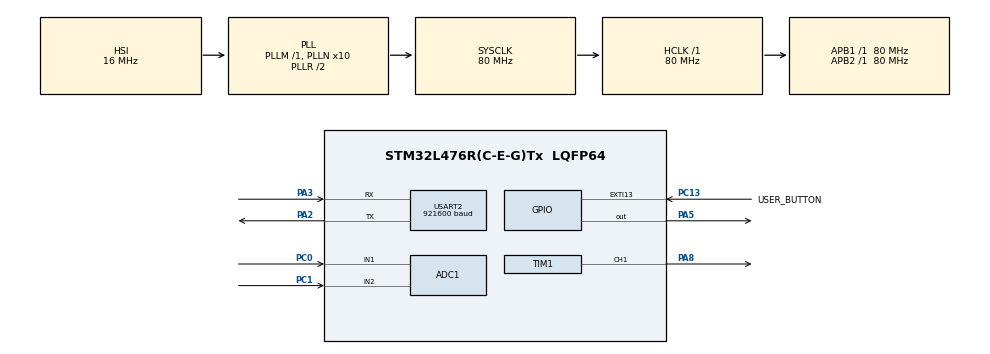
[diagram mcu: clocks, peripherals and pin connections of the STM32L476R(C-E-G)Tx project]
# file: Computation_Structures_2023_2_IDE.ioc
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ADC1.Channel-0\#ChannelRegularConversion=ADC_CHANNEL_1
ADC1.Channel-1\#ChannelRegularConversion=ADC_CHANNEL_2
ADC1.ContinuousConvMode=ENABLE
ADC1.EOCSelection=ADC_EOC_SEQ_CONV
ADC1.NbrOfConversion=2
ADC1.NbrOfConversionFlag=1
ADC1.OffsetNumber-0\#ChannelRegularConversion=ADC_OFFSET_NONE
ADC1.OffsetNumber-1\#ChannelRegularConversion=ADC_OFFSET_NONE
ADC1.Rank-0\#ChannelRegularConversion=1
ADC1.Rank-1\#ChannelRegularConversion=2
ADC1.SamplingTime-0\#ChannelRegularConversion=ADC_SAMPLETIME_2CYCLES_5
ADC1.SamplingTime-1\#ChannelRegularConversion=ADC_SAMPLETIME_2CYCLES_5
ADC1.master=1
Dma.ADC1.1.Direction=DMA_PERIPH_TO_MEMORY
Dma.ADC1.1.Instance=DMA1_Channel1
Dma.ADC1.1.MemDataAlignment=DMA_MDATAALIGN_HALFWORD
Dma.ADC1.1.MemInc=DMA_MINC_ENABLE
Dma.ADC1.1.Mode=DMA_NORMAL
Dma.ADC1.1.PeriphDataAlignment=DMA_PDATAALIGN_HALFWORD
Dma.ADC1.1.PeriphInc=DMA_PINC_DISABLE
Dma.ADC1.1.Priority=DMA_PRIORITY_HIGH
Dma.Request0=USART2_TX
Dma.Request1=ADC1
Dma.USART2_TX.0.Direction=DMA_MEMORY_TO_PERIPH
Dma.USART2_TX.0.Instance=DMA1_Channel7
Dma.USART2_TX.0.MemDataAlignment=DMA_MDATAALIGN_BYTE
Dma.USART2_TX.0.MemInc=DMA_MINC_ENABLE
Dma.USART2_TX.0.Mode=DMA_NORMAL
Dma.USART2_TX.0.PeriphDataAlignment=DMA_PDATAALIGN_BYTE
Dma.USART2_TX.0.PeriphInc=DMA_PINC_DISABLE
Dma.USART2_TX.0.Priority=DMA_PRIORITY_MEDIUM
Mcu.Family=STM32L4
Mcu.Name=STM32L476R(C-E-G)Tx
Mcu.Package=LQFP64
NVIC.DMA1_Channel1_IRQn=true\:0\:0\:false\:false\:true\:false\:true\:true
NVIC.DMA1_Channel7_IRQn=true\:0\:0\:false\:false\:true\:false\:true\:true
NVIC.EXTI15_10_IRQn=true\:0\:0\:false\:false\:true\:true\:true\:true
NVIC.PriorityGroup=NVIC_PRIORITYGROUP_4
NVIC.RTC_Alarm_IRQn=true\:0\:0\:false\:false\:true\:true\:true\:true
NVIC.TIM7_IRQn=true\:0\:0\:false\:false\:true\:true\:true\:true
NVIC.USART2_IRQn=true\:0\:0\:false\:false\:true\:true\:true\:true
PA2.Mode=Asynchronous
PA2.Signal=USART2_TX
PA3.Mode=Asynchronous
PA3.Signal=USART2_RX
PA5.Signal=GPIO_Output
PA8.Signal=S_TIM1_CH1
PC0.Signal=ADCx_IN1
PC1.Signal=ADCx_IN2
PC13.GPIO_Label=USER_BUTTON
PC13.Signal=GPXTI13
PH0-OSC_IN\ (PH0).Mode=HSE-External-Oscillator
PH0-OSC_IN\ (PH0).Signal=RCC_OSC_IN
PH1-OSC_OUT\ (PH1).Mode=HSE-External-Oscillator
PH1-OSC_OUT\ (PH1).Signal=RCC_OSC_OUT
ProjectManager.HeapSize=0x200
ProjectManager.StackSize=0x400
ProjectManager.TargetToolchain=STM32CubeIDE
RCC.ADCFreq_Value=64000000
RCC.AHBFreq_Value=80000000
RCC.APB1Freq_Value=80000000
RCC.APB1TimFreq_Value=80000000
RCC.APB2Freq_Value=80000000
RCC.APB2TimFreq_Value=80000000
RCC.CortexFreq_Value=80000000
RCC.HCLKFreq_Value=80000000
RCC.HSE_VALUE=48000000
RCC.HSI_VALUE=16000000
RCC.LSE_VALUE=32768
RCC.MSI_VALUE=4000000
RCC.PLLN=10
RCC.PLLSourceVirtual=RCC_PLLSOURCE_HSI
RCC.PREFETCH_ENABLE=1
RCC.SYSCLKFreq_VALUE=80000000
RCC.SYSCLKSource=RCC_SYSCLKSOURCE_PLLCLK
RCC.USBFreq_Value=64000000
RCC.VCOOutputFreq_Value=160000000
RTC.Alarm-Alarm\ A=RTC_ALARM_A
SH.ADCx_IN1.0=ADC1_IN1,IN1-Single-Ended
SH.ADCx_IN2.0=ADC1_IN2,IN2-Single-Ended
SH.S_TIM1_CH1.0=TIM1_CH1,PWM Generation1 CH1
TIM1.Channel-PWM\ Generation1\ CH1=TIM_CHANNEL_1
TIM1.Period=100-1
TIM1.Prescaler=800-1
TIM7.Period=10000-1
TIM7.Prescaler=8000-1
USART2.BaudRate=921600
USART2.VirtualMode-Asynchronous=VM_ASYNC
VP_RTC_VS_RTC_Activate.Mode=RTC_Enabled
VP_RTC_VS_RTC_Alarm_A_Intern.Mode=Alarm A
VP_RTC_VS_RTC_Calendar.Mode=RTC_Calendar
VP_TIM1_VS_ClockSourceINT.Mode=Internal
VP_TIM7_VS_ClockSourceINT.Mode=Enable_Timer
board=NUCLEO-L476RG

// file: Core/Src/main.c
/* USER CODE BEGIN Header */
/**
  ******************************************************************************
  * @file           : main.c
  * @brief          : Main program body
  ******************************************************************************
  * @attention
  *
  * Copyright (c) 2023 STMicroelectronics.
  * All rights reserved.
  *
  * This software is licensed under terms that can be found in the LICENSE file
  * in the root directory of this software component.
  * If no LICENSE file comes with this software, it is provided AS-IS.
  *
  ******************************************************************************
  */
/* USER CODE END Header */
#include "main.h"

/* USER CODE BEGIN Includes */
#include "stdio.h"
/* Private includes ----------------------------------------------------------*/

/* USER CODE END Includes */

ADC_HandleTypeDef hadc1;
DMA_HandleTypeDef hdma_adc1;

RTC_HandleTypeDef hrtc;

TIM_HandleTypeDef htim1;
TIM_HandleTypeDef htim7;

UART_HandleTypeDef huart2;
DMA_HandleTypeDef hdma_usart2_tx;

/* USER CODE BEGIN PV */
uint8_t tx_busy=0;
uint8_t rx_buffer[10];
uint16_t adc_buffer[10];
/* USER CODE END PV */

void SystemClock_Config(void);
static void MX_GPIO_Init(void);
static void MX_DMA_Init(void);
static void MX_USART2_UART_Init(void);
static void MX_TIM7_Init(void);
static void MX_TIM1_Init(void);
static void MX_ADC1_Init(void);
static void MX_RTC_Init(void);
/* USER CODE BEGIN PFP */
ADC_HandleTypeDef hadc1;

TIM_HandleTypeDef htim1;
TIM_HandleTypeDef htim7;

UART_HandleTypeDef huart2;
DMA_HandleTypeDef hdma_usart2_tx;
/* USER CODE END PFP */

/* USER CODE BEGIN 0 */

//uint32_t counter=0;

int _write(int file, char *ptr, int len)

{
	while (tx_busy != 0){/*Wait*/}
  HAL_UART_Transmit_DMA(&huart2,(uint8_t *)ptr, len);
  tx_busy=1;
  return len;
}

//void HAL_UART_RxHalfCpltCallback(UART_HandleTypeDef *huart)
//{
//	HAL_GPIO_TogglePin(GPIOA, GPIO_PIN_5);
//}

void HAL_UART_RxCpltCallback(UART_HandleTypeDef *huart)
{
	printf("Receive: [%s]\r\n",rx_buffer);
	HAL_UART_Receive_IT(&huart2, rx_buffer, 1);
}
void HAL_UART_TxCpltCallback(UART_HandleTypeDef *huart)
{
	tx_busy=0;
}
void HAL_TIM_PeriodElapsedCallback(TIM_HandleTypeDef *htim)
{
	static uint32_t counter=0;
	printf("Counter:%ld\r\n", counter++);
}

void rtc_alarm_config(void)
{
	RTC_DateTypeDef date;
	RTC_TimeTypeDef time;
	RTC_AlarmTypeDef alarm;
	date.Year= 0x23;
	date.Month= RTC_MONTH_OCTOBER;
	date.Date=0x06;
	date.WeekDay= RTC_WEEKDAY_FRIDAY;
	HAL_RTC_SetDate(&hrtc, &date, RTC_FORMAT_BCD);

	time.Hours= 0x19;
	time.Minutes= 0x10;
	time.Seconds= 0x00;
	time.TimeFormat= RTC_HOURFORMAT_24;
	HAL_RTC_SetTime(&hrtc, &time, RTC_FORMAT_BCD);

	alarm.Alarm= RTC_ALARM_A;
	alarm.AlarmTime.Hours=0x19;
	alarm.AlarmTime.Minutes= 0x10;
	alarm.AlarmTime.Seconds= 0x10;

	alarm.AlarmTime.TimeFormat= RTC_HOURFORMAT_24;
	alarm.AlarmDateWeekDay= RTC_WEEKDAY_FRIDAY;
	alarm.AlarmDateWeekDaySel= RTC_ALARMDATEWEEKDAYSEL_WEEKDAY;
	alarm.AlarmMask= RTC_ALARMMASK_DATEWEEKDAY;

	HAL_RTC_SetAlarm_IT(&hrtc, &alarm, RTC_FORMAT_BCD);
}
void HAL_RTC_AlarmAEventCallback(RTC_HandleTypeDef *hrtc)
{
	printf("Alarm !!!\r\n");
	HAL_GPIO_TogglePin(GPIOA, GPIO_PIN_5);
}
/* USER CODE END 0 */

int main(void)
{

  /* MCU Configuration--------------------------------------------------------*/

  /* Reset of all peripherals, Initializes the Flash interface and the Systick. */
  HAL_Init();

  /* Configure the system clock */
  SystemClock_Config();

  /* Initialize all configured peripherals */
  MX_GPIO_Init();
  MX_DMA_Init();
  MX_USART2_UART_Init();
  MX_TIM7_Init();
  MX_TIM1_Init();
  MX_ADC1_Init();
  MX_RTC_Init();
  /* USER CODE BEGIN 2 */

  HAL_UART_Receive_IT(&huart2, rx_buffer, 1);// Initiate reception of 1 bytes via UART with interrupt

  HAL_TIM_Base_Start_IT(&htim7);

//  TIM1->CCR1=10;
//
//  HAL_TIM_PWM_Start(&htim1, TIM_CHANNEL_1);

  /* USER CODE END 2 */

  /* Infinite loop */
  /* USER CODE BEGIN WHILE */
//  printf("Initial values: %d, %d\r\n", adc_buffer[0], adc_buffer[1]);

  rtc_alarm_config();
  while (1)
  {
//	  HAL_ADC_Start_DMA(&hadc1, (uint32_t *)adc_buffer, 10);
//	  HAL_Delay(1000);
//	  uint32_t adc_channel_1 = adc_buffer[0] + adc_buffer[2] +
//			  adc_buffer[4] + adc_buffer[6] + adc_buffer[8];
//	  adc_channel_1 = adc_channel_1 / 5;
//	  uint32_t adc_channel_2 = adc_buffer[1] + adc_buffer[3] +
//	  			  adc_buffer[5] + adc_buffer[7] + adc_buffer[9];
//	  	  adc_channel_2 = adc_channel_2 / 5;
//	  printf("Average: %ld, %ld\r\n", adc_channel_1, adc_channel_2);
////		printf("ADC Reading: %d\r\n",aver);
////		HAL_Delay(1000);
	}

//	float adc_voltage2 = (adc_value2 / 4096.0) * 3.3;

//	  	HAL_ADC_Start_DMA(&hadc1, (uint32_t *)adc_buffer, 2);
//	  	HAL_Delay(1000);
//		printf("Current values: %d, %d\r\n", adc_buffer[0], adc_buffer[1]);

    /* USER CODE END WHILE */

  }

void SystemClock_Config(void)
{
  RCC_OscInitTypeDef RCC_OscInitStruct = {0};
  RCC_ClkInitTypeDef RCC_ClkInitStruct = {0};

  /** Configure the main internal regulator output voltage
  */
  if (HAL_PWREx_ControlVoltageScaling(PWR_REGULATOR_VOLTAGE_SCALE1) != HAL_OK)
  {
    Error_Handler();
  }

  /** Initializes the RCC Oscillators according to the specified parameters
  * in the RCC_OscInitTypeDef structure.
  */
  RCC_OscInitStruct.OscillatorType = RCC_OSCILLATORTYPE_HSI|RCC_OSCILLATORTYPE_LSI;
  RCC_OscInitStruct.HSIState = RCC_HSI_ON;
  RCC_OscInitStruct.HSICalibrationValue = RCC_HSICALIBRATION_DEFAULT;
  RCC_OscInitStruct.LSIState = RCC_LSI_ON;
  RCC_OscInitStruct.PLL.PLLState = RCC_PLL_ON;
  RCC_OscInitStruct.PLL.PLLSource = RCC_PLLSOURCE_HSI;
  RCC_OscInitStruct.PLL.PLLM = 1;
  RCC_OscInitStruct.PLL.PLLN = 10;
  RCC_OscInitStruct.PLL.PLLP = RCC_PLLP_DIV7;
  RCC_OscInitStruct.PLL.PLLQ = RCC_PLLQ_DIV2;
  RCC_OscInitStruct.PLL.PLLR = RCC_PLLR_DIV2;
  if (HAL_RCC_OscConfig(&RCC_OscInitStruct) != HAL_OK)
  {
    Error_Handler();
  }

  /** Initializes the CPU, AHB and APB buses clocks
  */
  RCC_ClkInitStruct.ClockType = RCC_CLOCKTYPE_HCLK|RCC_CLOCKTYPE_SYSCLK
                              |RCC_CLOCKTYPE_PCLK1|RCC_CLOCKTYPE_PCLK2;
  RCC_ClkInitStruct.SYSCLKSource = RCC_SYSCLKSOURCE_PLLCLK;
  RCC_ClkInitStruct.AHBCLKDivider = RCC_SYSCLK_DIV1;
  RCC_ClkInitStruct.APB1CLKDivider = RCC_HCLK_DIV1;
  RCC_ClkInitStruct.APB2CLKDivider = RCC_HCLK_DIV1;

  if (HAL_RCC_ClockConfig(&RCC_ClkInitStruct, FLASH_LATENCY_4) != HAL_OK)
  {
    Error_Handler();
  }
}

static void MX_ADC1_Init(void)
{

  ADC_MultiModeTypeDef multimode = {0};
  ADC_ChannelConfTypeDef sConfig = {0};

  /** Common config
  */
  hadc1.Instance = ADC1;
  hadc1.Init.ClockPrescaler = ADC_CLOCK_ASYNC_DIV1;
  hadc1.Init.Resolution = ADC_RESOLUTION_12B;
  hadc1.Init.DataAlign = ADC_DATAALIGN_RIGHT;
  hadc1.Init.ScanConvMode = ADC_SCAN_ENABLE;
  hadc1.Init.EOCSelection = ADC_EOC_SEQ_CONV;
  hadc1.Init.LowPowerAutoWait = DISABLE;
  hadc1.Init.ContinuousConvMode = ENABLE;
  hadc1.Init.NbrOfConversion = 2;
  hadc1.Init.DiscontinuousConvMode = DISABLE;
  hadc1.Init.ExternalTrigConv = ADC_SOFTWARE_START;
  hadc1.Init.ExternalTrigConvEdge = ADC_EXTERNALTRIGCONVEDGE_NONE;
  hadc1.Init.DMAContinuousRequests = DISABLE;
  hadc1.Init.Overrun = ADC_OVR_DATA_PRESERVED;
  hadc1.Init.OversamplingMode = DISABLE;
  if (HAL_ADC_Init(&hadc1) != HAL_OK)
  {
    Error_Handler();
  }

  /** Configure the ADC multi-mode
  */
  multimode.Mode = ADC_MODE_INDEPENDENT;
  if (HAL_ADCEx_MultiModeConfigChannel(&hadc1, &multimode) != HAL_OK)
  {
    Error_Handler();
  }

  /** Configure Regular Channel
  */
  sConfig.Channel = ADC_CHANNEL_1;
  sConfig.Rank = ADC_REGULAR_RANK_1;
  sConfig.SamplingTime = ADC_SAMPLETIME_2CYCLES_5;
  sConfig.SingleDiff = ADC_SINGLE_ENDED;
  sConfig.OffsetNumber = ADC_OFFSET_NONE;
  sConfig.Offset = 0;
  if (HAL_ADC_ConfigChannel(&hadc1, &sConfig) != HAL_OK)
  {
    Error_Handler();
  }

  /** Configure Regular Channel
  */
  sConfig.Channel = ADC_CHANNEL_2;
  sConfig.Rank = ADC_REGULAR_RANK_2;
  if (HAL_ADC_ConfigChannel(&hadc1, &sConfig) != HAL_OK)
  {
    Error_Handler();
  }

}

static void MX_RTC_Init(void)
{

  RTC_TimeTypeDef sTime = {0};
  RTC_DateTypeDef sDate = {0};
  RTC_AlarmTypeDef sAlarm = {0};

  /** Initialize RTC Only
  */
  hrtc.Instance = RTC;
  hrtc.Init.HourFormat = RTC_HOURFORMAT_24;
  hrtc.Init.AsynchPrediv = 127;
  hrtc.Init.SynchPrediv = 255;
  hrtc.Init.OutPut = RTC_OUTPUT_DISABLE;
  hrtc.Init.OutPutRemap = RTC_OUTPUT_REMAP_NONE;
  hrtc.Init.OutPutPolarity = RTC_OUTPUT_POLARITY_HIGH;
  hrtc.Init.OutPutType = RTC_OUTPUT_TYPE_OPENDRAIN;
  if (HAL_RTC_Init(&hrtc) != HAL_OK)
  {
    Error_Handler();
  }

  /** Initialize RTC and set the Time and Date
  */
  sTime.Hours = 0x0;
  sTime.Minutes = 0x0;
  sTime.Seconds = 0x0;
  sTime.DayLightSaving = RTC_DAYLIGHTSAVING_NONE;
  sTime.StoreOperation = RTC_STOREOPERATION_RESET;
  if (HAL_RTC_SetTime(&hrtc, &sTime, RTC_FORMAT_BCD) != HAL_OK)
  {
    Error_Handler();
  }
  sDate.WeekDay = RTC_WEEKDAY_MONDAY;
  sDate.Month = RTC_MONTH_JANUARY;
  sDate.Date = 0x1;
  sDate.Year = 0x0;

  if (HAL_RTC_SetDate(&hrtc, &sDate, RTC_FORMAT_BCD) != HAL_OK)
  {
    Error_Handler();
  }

  /** Enable the Alarm A
  */
  sAlarm.AlarmTime.Hours = 0x0;
  sAlarm.AlarmTime.Minutes = 0x0;
  sAlarm.AlarmTime.Seconds = 0x0;
  sAlarm.AlarmTime.SubSeconds = 0x0;
  sAlarm.AlarmTime.DayLightSaving = RTC_DAYLIGHTSAVING_NONE;
  sAlarm.AlarmTime.StoreOperation = RTC_STOREOPERATION_RESET;
  sAlarm.AlarmMask = RTC_ALARMMASK_NONE;
  sAlarm.AlarmSubSecondMask = RTC_ALARMSUBSECONDMASK_ALL;
  sAlarm.AlarmDateWeekDaySel = RTC_ALARMDATEWEEKDAYSEL_DATE;
  sAlarm.AlarmDateWeekDay = 0x1;
  sAlarm.Alarm = RTC_ALARM_A;
  if (HAL_RTC_SetAlarm_IT(&hrtc, &sAlarm, RTC_FORMAT_BCD) != HAL_OK)
  {
    Error_Handler();
  }

}

static void MX_TIM1_Init(void)
{

  TIM_ClockConfigTypeDef sClockSourceConfig = {0};
  TIM_MasterConfigTypeDef sMasterConfig = {0};
  TIM_OC_InitTypeDef sConfigOC = {0};
  TIM_BreakDeadTimeConfigTypeDef sBreakDeadTimeConfig = {0};

  htim1.Instance = TIM1;
  htim1.Init.Prescaler = 800-1;
  htim1.Init.CounterMode = TIM_COUNTERMODE_UP;
  htim1.Init.Period = 100-1;
  htim1.Init.ClockDivision = TIM_CLOCKDIVISION_DIV1;
  htim1.Init.RepetitionCounter = 0;
  htim1.Init.AutoReloadPreload = TIM_AUTORELOAD_PRELOAD_DISABLE;
  if (HAL_TIM_Base_Init(&htim1) != HAL_OK)
  {
    Error_Handler();
  }
  sClockSourceConfig.ClockSource = TIM_CLOCKSOURCE_INTERNAL;
  if (HAL_TIM_ConfigClockSource(&htim1, &sClockSourceConfig) != HAL_OK)
  {
    Error_Handler();
  }
  if (HAL_TIM_PWM_Init(&htim1) != HAL_OK)
  {
    Error_Handler();
  }
  sMasterConfig.MasterOutputTrigger = TIM_TRGO_RESET;
  sMasterConfig.MasterOutputTrigger2 = TIM_TRGO2_RESET;
  sMasterConfig.MasterSlaveMode = TIM_MASTERSLAVEMODE_DISABLE;
  if (HAL_TIMEx_MasterConfigSynchronization(&htim1, &sMasterConfig) != HAL_OK)
  {
    Error_Handler();
  }
  sConfigOC.OCMode = TIM_OCMODE_PWM1;
  sConfigOC.Pulse = 0;
  sConfigOC.OCPolarity = TIM_OCPOLARITY_HIGH;
  sConfigOC.OCNPolarity = TIM_OCNPOLARITY_HIGH;
  sConfigOC.OCFastMode = TIM_OCFAST_DISABLE;
  sConfigOC.OCIdleState = TIM_OCIDLESTATE_RESET;
  sConfigOC.OCNIdleState = TIM_OCNIDLESTATE_RESET;
  if (HAL_TIM_PWM_ConfigChannel(&htim1, &sConfigOC, TIM_CHANNEL_1) != HAL_OK)
  {
    Error_Handler();
  }
  sBreakDeadTimeConfig.OffStateRunMode = TIM_OSSR_DISABLE;
  sBreakDeadTimeConfig.OffStateIDLEMode = TIM_OSSI_DISABLE;
  sBreakDeadTimeConfig.LockLevel = TIM_LOCKLEVEL_OFF;
  sBreakDeadTimeConfig.DeadTime = 0;
  sBreakDeadTimeConfig.BreakState = TIM_BREAK_DISABLE;
  sBreakDeadTimeConfig.BreakPolarity = TIM_BREAKPOLARITY_HIGH;
  sBreakDeadTimeConfig.BreakFilter = 0;
  sBreakDeadTimeConfig.Break2State = TIM_BREAK2_DISABLE;
  sBreakDeadTimeConfig.Break2Polarity = TIM_BREAK2POLARITY_HIGH;
  sBreakDeadTimeConfig.Break2Filter = 0;
  sBreakDeadTimeConfig.AutomaticOutput = TIM_AUTOMATICOUTPUT_DISABLE;
  if (HAL_TIMEx_ConfigBreakDeadTime(&htim1, &sBreakDeadTimeConfig) != HAL_OK)
  {
    Error_Handler();
  }
  HAL_TIM_MspPostInit(&htim1);

}

static void MX_TIM7_Init(void)
{

  TIM_MasterConfigTypeDef sMasterConfig = {0};

  htim7.Instance = TIM7;
  htim7.Init.Prescaler = 8000-1;
  htim7.Init.CounterMode = TIM_COUNTERMODE_UP;
  htim7.Init.Period = 10000-1;
  htim7.Init.AutoReloadPreload = TIM_AUTORELOAD_PRELOAD_DISABLE;
  if (HAL_TIM_Base_Init(&htim7) != HAL_OK)
  {
    Error_Handler();
  }
  sMasterConfig.MasterOutputTrigger = TIM_TRGO_RESET;
  sMasterConfig.MasterSlaveMode = TIM_MASTERSLAVEMODE_DISABLE;
  if (HAL_TIMEx_MasterConfigSynchronization(&htim7, &sMasterConfig) != HAL_OK)
  {
    Error_Handler();
  }

}

static void MX_USART2_UART_Init(void)
{

  huart2.Instance = USART2;
  huart2.Init.BaudRate = 921600;
  huart2.Init.WordLength = UART_WORDLENGTH_8B;
  huart2.Init.StopBits = UART_STOPBITS_1;
  huart2.Init.Parity = UART_PARITY_NONE;
  huart2.Init.Mode = UART_MODE_TX_RX;
  huart2.Init.HwFlowCtl = UART_HWCONTROL_NONE;
  huart2.Init.OverSampling = UART_OVERSAMPLING_16;
  huart2.Init.OneBitSampling = UART_ONE_BIT_SAMPLE_DISABLE;
  huart2.AdvancedInit.AdvFeatureInit = UART_ADVFEATURE_NO_INIT;
  if (HAL_UART_Init(&huart2) != HAL_OK)
  {
    Error_Handler();
  }

}

static void MX_DMA_Init(void)
{

  /* DMA controller clock enable */
  __HAL_RCC_DMA1_CLK_ENABLE();

  /* DMA interrupt init */
  /* DMA1_Channel1_IRQn interrupt configuration */
  HAL_NVIC_SetPriority(DMA1_Channel1_IRQn, 0, 0);
  HAL_NVIC_EnableIRQ(DMA1_Channel1_IRQn);
  /* DMA1_Channel7_IRQn interrupt configuration */
  HAL_NVIC_SetPriority(DMA1_Channel7_IRQn, 0, 0);
  HAL_NVIC_EnableIRQ(DMA1_Channel7_IRQn);

}

static void MX_GPIO_Init(void)
{
  GPIO_InitTypeDef GPIO_InitStruct = {0};

  /* GPIO Ports Clock Enable */
  __HAL_RCC_GPIOC_CLK_ENABLE();
  __HAL_RCC_GPIOH_CLK_ENABLE();
  __HAL_RCC_GPIOA_CLK_ENABLE();

  /*Configure GPIO pin Output Level */
  HAL_GPIO_WritePin(GPIOA, GPIO_PIN_5, GPIO_PIN_RESET);

  /*Configure GPIO pin : USER_BUTTON_Pin */
  GPIO_InitStruct.Pin = USER_BUTTON_Pin;
  GPIO_InitStruct.Mode = GPIO_MODE_IT_RISING;
  GPIO_InitStruct.Pull = GPIO_NOPULL;
  HAL_GPIO_Init(USER_BUTTON_GPIO_Port, &GPIO_InitStruct);

  /*Configure GPIO pin : PA5 */
  GPIO_InitStruct.Pin = GPIO_PIN_5;
  GPIO_InitStruct.Mode = GPIO_MODE_OUTPUT_PP;
  GPIO_InitStruct.Pull = GPIO_NOPULL;
  GPIO_InitStruct.Speed = GPIO_SPEED_FREQ_LOW;
  HAL_GPIO_Init(GPIOA, &GPIO_InitStruct);

  /* EXTI interrupt init*/
  HAL_NVIC_SetPriority(EXTI15_10_IRQn, 0, 0);
  HAL_NVIC_EnableIRQ(EXTI15_10_IRQn);

}

/* USER CODE BEGIN 4 */
//void HAL_UART_RxCpltCallback(UART_HandleTypeDef *huart)
//{
//    // Increments the byte counter
//	byte_count++;
//    // Checks if 4 bytes have been received
//    if (byte_count == 4)
//    {
//        // The LED toggle
//        HAL_GPIO_WritePin(LED_GREEN_GPIO_Port, LED_GREEN_Pin, GPIO_PIN_SET);
//        byte_count= 0;  // Reinicia el contador
//    }
//    else
//    {
//    	 HAL_GPIO_WritePin(LED_GREEN_GPIO_Port, LED_GREEN_Pin, GPIO_PIN_RESET);
//    }
//
//    // Re-enable reception for the next byte
//    HAL_UART_Receive_IT(&huart2, Rx_data, 1);
//
//
//}
/* USER CODE END 4 */

void Error_Handler(void)
{
  __disable_irq();
  while (1)
  {
  }
}
